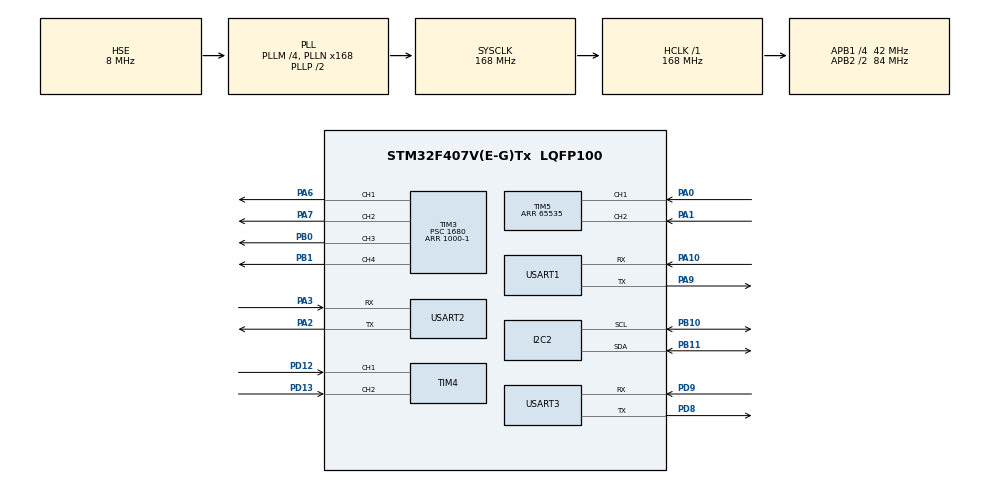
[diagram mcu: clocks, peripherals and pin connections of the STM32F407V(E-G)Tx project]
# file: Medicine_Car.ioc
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Dma.Request0=USART2_RX
Dma.USART2_RX.0.Direction=DMA_PERIPH_TO_MEMORY
Dma.USART2_RX.0.FIFOMode=DMA_FIFOMODE_DISABLE
Dma.USART2_RX.0.Instance=DMA1_Stream5
Dma.USART2_RX.0.MemDataAlignment=DMA_MDATAALIGN_BYTE
Dma.USART2_RX.0.MemInc=DMA_MINC_ENABLE
Dma.USART2_RX.0.Mode=DMA_NORMAL
Dma.USART2_RX.0.PeriphDataAlignment=DMA_PDATAALIGN_BYTE
Dma.USART2_RX.0.PeriphInc=DMA_PINC_DISABLE
Dma.USART2_RX.0.Priority=DMA_PRIORITY_LOW
Mcu.Family=STM32F4
Mcu.Name=STM32F407V(E-G)Tx
Mcu.Package=LQFP100
NVIC.DMA1_Stream5_IRQn=true\:0\:0\:false\:false\:true\:false\:true
NVIC.PriorityGroup=NVIC_PRIORITYGROUP_4
NVIC.TIM2_IRQn=true\:1\:0\:true\:false\:true\:true\:true
NVIC.USART2_IRQn=true\:0\:0\:false\:false\:true\:true\:true
NVIC.USART3_IRQn=true\:0\:0\:true\:false\:true\:true\:true
PA0-WKUP.Signal=S_TIM5_CH1
PA1.Signal=S_TIM5_CH2
PA10.Mode=Asynchronous
PA10.Signal=USART1_RX
PA13.Mode=Serial_Wire
PA13.Signal=SYS_JTMS-SWDIO
PA14.Mode=Serial_Wire
PA14.Signal=SYS_JTCK-SWCLK
PA2.Mode=Asynchronous
PA2.Signal=USART2_TX
PA3.Mode=Asynchronous
PA3.Signal=USART2_RX
PA6.Signal=S_TIM3_CH1
PA7.Signal=S_TIM3_CH2
PA9.Mode=Asynchronous
PA9.Signal=USART1_TX
PB0.Signal=S_TIM3_CH3
PB1.Signal=S_TIM3_CH4
PB10.Mode=I2C
PB10.Signal=I2C2_SCL
PB11.Mode=I2C
PB11.Signal=I2C2_SDA
PD12.Signal=S_TIM4_CH1
PD13.Signal=S_TIM4_CH2
PD8.Mode=Asynchronous
PD8.Signal=USART3_TX
PD9.Mode=Asynchronous
PD9.Signal=USART3_RX
PH0-OSC_IN.Mode=HSE-External-Oscillator
PH0-OSC_IN.Signal=RCC_OSC_IN
PH1-OSC_OUT.Mode=HSE-External-Oscillator
PH1-OSC_OUT.Signal=RCC_OSC_OUT
ProjectManager.HeapSize=0x200
ProjectManager.StackSize=0x400
ProjectManager.TargetToolchain=MDK-ARM V5.27
RCC.48MHZClocksFreq_Value=84000000
RCC.AHBFreq_Value=168000000
RCC.APB1CLKDivider=RCC_HCLK_DIV4
RCC.APB1Freq_Value=42000000
RCC.APB1TimFreq_Value=84000000
RCC.APB2CLKDivider=RCC_HCLK_DIV2
RCC.APB2Freq_Value=84000000
RCC.APB2TimFreq_Value=168000000
RCC.CortexFreq_Value=168000000
RCC.HCLKFreq_Value=168000000
RCC.HSE_VALUE=8000000
RCC.HSI_VALUE=16000000
RCC.LSE_VALUE=32768
RCC.PLLM=4
RCC.PLLN=168
RCC.PLLSourceVirtual=RCC_PLLSOURCE_HSE
RCC.SYSCLKFreq_VALUE=168000000
RCC.SYSCLKSource=RCC_SYSCLKSOURCE_PLLCLK
RCC.VCOOutputFreq_Value=336000000
SH.S_TIM3_CH1.0=TIM3_CH1,PWM Generation1 CH1
SH.S_TIM3_CH2.0=TIM3_CH2,PWM Generation2 CH2
SH.S_TIM3_CH3.0=TIM3_CH3,PWM Generation3 CH3
SH.S_TIM3_CH4.0=TIM3_CH4,PWM Generation4 CH4
SH.S_TIM4_CH1.0=TIM4_CH1,Encoder_Interface
SH.S_TIM4_CH2.0=TIM4_CH2,Encoder_Interface
SH.S_TIM5_CH1.0=TIM5_CH1,Encoder_Interface
SH.S_TIM5_CH2.0=TIM5_CH2,Encoder_Interface
TIM2.AutoReloadPreload=TIM_AUTORELOAD_PRELOAD_ENABLE
TIM2.Period=1000-1
TIM2.Prescaler=1680-1
TIM3.Channel-PWM\ Generation1\ CH1=TIM_CHANNEL_1
TIM3.Channel-PWM\ Generation2\ CH2=TIM_CHANNEL_2
TIM3.Channel-PWM\ Generation3\ CH3=TIM_CHANNEL_3
TIM3.Channel-PWM\ Generation4\ CH4=TIM_CHANNEL_4
TIM3.Period=1000-1
TIM3.Prescaler=1680
TIM4.EncoderMode=TIM_ENCODERMODE_TI12
TIM5.EncoderMode=TIM_ENCODERMODE_TI12
TIM5.Period=65535
USART1.VirtualMode=VM_ASYNC
USART2.VirtualMode=VM_ASYNC
USART3.VirtualMode=VM_ASYNC
VP_TIM2_VS_ClockSourceINT.Mode=Internal
board=custom

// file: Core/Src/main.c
/* USER CODE BEGIN Header */
/**
  ******************************************************************************
  * @file           : main.c
  * @brief          : Main program body
  ******************************************************************************
  * @attention
  *
  * <h2><center>&copy; Copyright (c) 2021 STMicroelectronics.
  * All rights reserved.</center></h2>
  *
  * This software component is licensed by ST under BSD 3-Clause license,
  * the "License"; You may not use this file except in compliance with the
  * License. You may obtain a copy of the License at:
  *                        opensource.org/licenses/BSD-3-Clause
  *
  ******************************************************************************
  */
/* USER CODE END Header */
#include "main.h"
#include "dma.h"
#include "i2c.h"
#include "tim.h"
#include "usart.h"
#include "gpio.h"

/* USER CODE BEGIN Includes */
#include "stdio.h"
#include "pid.h"
#include "move.h"
#include "UART_FreeCommunication.h"
/* USER CODE END Includes */

/* USER CODE BEGIN PTD */
uint16_t MotorSpeed1 = 0, MotorSpeed2 = 0;
fp32 left_pid_parameters1[] = {1,0,0};
fp32 right_pid_parameters2[] = {10,0,0};
uint8_t Flag = 1;
uint16_t a[2];
/* USER CODE END PTD */

void SystemClock_Config(void);

/* USER CODE BEGIN 0 */

void HAL_UART_RxCpltCallback(UART_HandleTypeDef *huart)
{UART_DMA_RECV_RxCpltCallback(huart);}
/* USER CODE END 0 */

int main(void)
{

  /* MCU Configuration--------------------------------------------------------*/

  /* Reset of all peripherals, Initializes the Flash interface and the Systick. */
  HAL_Init();

  /* Configure the system clock */
  SystemClock_Config();

  /* Initialize all configured peripherals */
  MX_GPIO_Init();
  MX_DMA_Init();
  MX_TIM3_Init();
  MX_TIM4_Init();
  MX_TIM5_Init();
  MX_USART2_UART_Init();
  MX_TIM2_Init();
  MX_I2C2_Init();
  MX_USART3_UART_Init();
  MX_USART1_UART_Init();
  /* USER CODE BEGIN 2 */
  HAL_TIM_Base_Start_IT(&htim2);

  /*PWM四路输出 */
  HAL_TIM_PWM_Start(&htim3, TIM_CHANNEL_1);	    // TIM3_CH1(pwm)
	HAL_TIM_PWM_Start(&htim3, TIM_CHANNEL_2);	    // TIM3_CH2(pwm)
	HAL_TIM_PWM_Start(&htim3, TIM_CHANNEL_3);	    // TIM3_CH3(pwm)
  HAL_TIM_PWM_Start(&htim3, TIM_CHANNEL_4);	    // TIM3_CH4(pwm)
  __HAL_TIM_SET_COMPARE(&htim3, TIM_CHANNEL_1, 0);
	__HAL_TIM_SET_COMPARE(&htim3, TIM_CHANNEL_2, 0);
	__HAL_TIM_SET_COMPARE(&htim3, TIM_CHANNEL_3, 0);
	__HAL_TIM_SET_COMPARE(&htim3, TIM_CHANNEL_4, 0);

  /*编码�???1�???2 */
  HAL_TIM_Encoder_Start(&htim4, TIM_CHANNEL_1);
  HAL_TIM_Encoder_Start(&htim4, TIM_CHANNEL_2);
  HAL_TIM_Encoder_Start(&htim5, TIM_CHANNEL_1);
	HAL_TIM_Encoder_Start(&htim5, TIM_CHANNEL_2);

  /*定时器初始化*/
	__HAL_TIM_SET_COUNTER(&htim4,8000);
	__HAL_TIM_SET_COUNTER(&htim5,8000);

  /*速度环PID*/
  PID_Init(&turnleft, PID_POSITION, left_pid_parameters1,	1000,1000);
  PID_Init(&turnright, PID_POSITION, right_pid_parameters2,	1000,1000);

	UART_FreeCommunication_Init();

    Go();

		//Turn_back(180);

  /* USER CODE END 2 */

  /* Infinite loop */
  while (1)
  {

    /* USER CODE BEGIN 3 */
		UART_DMA_FreeCommunication_Handler();
		printf("Encoder1 = %d\n",MotorSpeed1);
		printf("Encoder2 = %d\n",MotorSpeed2);
		HAL_Delay(20);
  //后�??

	}
  /* USER CODE END 3 */
}

void SystemClock_Config(void)
{
  RCC_OscInitTypeDef RCC_OscInitStruct = {0};
  RCC_ClkInitTypeDef RCC_ClkInitStruct = {0};

  /** Configure the main internal regulator output voltage
  */
  __HAL_RCC_PWR_CLK_ENABLE();
  __HAL_PWR_VOLTAGESCALING_CONFIG(PWR_REGULATOR_VOLTAGE_SCALE1);
  /** Initializes the RCC Oscillators according to the specified parameters
  * in the RCC_OscInitTypeDef structure.
  */
  RCC_OscInitStruct.OscillatorType = RCC_OSCILLATORTYPE_HSE;
  RCC_OscInitStruct.HSEState = RCC_HSE_ON;
  RCC_OscInitStruct.PLL.PLLState = RCC_PLL_ON;
  RCC_OscInitStruct.PLL.PLLSource = RCC_PLLSOURCE_HSE;
  RCC_OscInitStruct.PLL.PLLM = 4;
  RCC_OscInitStruct.PLL.PLLN = 168;
  RCC_OscInitStruct.PLL.PLLP = RCC_PLLP_DIV2;
  RCC_OscInitStruct.PLL.PLLQ = 4;
  if (HAL_RCC_OscConfig(&RCC_OscInitStruct) != HAL_OK)
  {
    Error_Handler();
  }
  /** Initializes the CPU, AHB and APB buses clocks
  */
  RCC_ClkInitStruct.ClockType = RCC_CLOCKTYPE_HCLK|RCC_CLOCKTYPE_SYSCLK
                              |RCC_CLOCKTYPE_PCLK1|RCC_CLOCKTYPE_PCLK2;
  RCC_ClkInitStruct.SYSCLKSource = RCC_SYSCLKSOURCE_PLLCLK;
  RCC_ClkInitStruct.AHBCLKDivider = RCC_SYSCLK_DIV1;
  RCC_ClkInitStruct.APB1CLKDivider = RCC_HCLK_DIV4;
  RCC_ClkInitStruct.APB2CLKDivider = RCC_HCLK_DIV2;

  if (HAL_RCC_ClockConfig(&RCC_ClkInitStruct, FLASH_LATENCY_5) != HAL_OK)
  {
    Error_Handler();
  }
}

/* USER CODE BEGIN 4 */
int fputc(int ch, FILE *f)
{
	HAL_UART_Transmit(&huart1,(uint8_t *)&ch,1,HAL_MAX_DELAY);
	return ch;
}

/* USER CODE END 4 */

void Error_Handler(void)
{
  __disable_irq();
  while (1)
  {
  }
}

/************************ (C) COPYRIGHT STMicroelectronics *****END OF FILE****/
